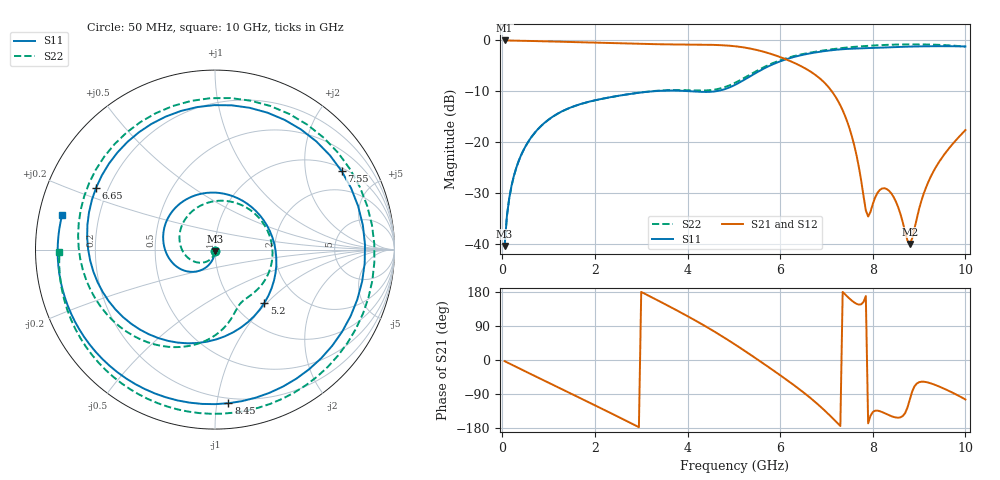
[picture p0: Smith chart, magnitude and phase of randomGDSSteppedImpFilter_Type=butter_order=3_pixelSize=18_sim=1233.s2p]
! freq	dB(S11)	phase(S11)	dB(S12)	phase(S12)
!  dB(S21)	phase(S21)	dB(S22)	phase(S22)
!S-par simulation data
#  GHz  S  DB  R 50
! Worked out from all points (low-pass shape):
!   200 points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, 50 MHz to 10 GHz, reference 50 ohm
!   highest |S21| = -0.01 dB at 50 MHz (marker M1); lowest = -39.9 dB at 8.8 GHz (marker M2)
!   |S21| within 3 dB of the highest: start of sweep to 5.92 GHz
!   lowest |S11| = -40.3 dB at 50 MHz (marker M3), VSWR 1.02, Z = 50 - j0.962 ohm
!   |S11| at or under -10 dB: start of sweep to 3.224 GHz; 4.111 GHz to 4.589 GHz (477.6 MHz wide, 11 % of centre)
!   |S22| runs from -40.4 to -0.8 dB; largest |S21 - S12| = 0
!   S11 on the Smith chart (normalised r, x): 50 MHz: 1.00, -0.02; 5.2 GHz: 1.37, -0.97; 6.65 GHz: 0.15, +0.24; 7.55 GHz: 1.11, +3.14; 8.45 GHz: 0.16, -1.08; 10 GHz: 0.07, +0.11
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0.05  -40.33 -90.6  -0.01 -3.1  -0.01 -3.1  -40.36 -92.6
0.2  -28.49 -98.4  -0.03 -12.1  -0.03 -12.1  -28.52 -105.3
0.5  -20.79 -111.9  -0.08 -30.2  -0.08 -30.2  -20.83 -129.3
1.15  -14.60 -138.3  -0.24 -69.0  -0.24 -69.0  -14.63 179.1
1.75  -12.32 -159.9  -0.39 -104.6  -0.39 -104.6  -12.34 129.3
2.65  -10.65 169.6  -0.60 -158.9  -0.60 -158.9  -10.65 51.6
3.4  -9.89 135.6  -0.75 154.6  -0.75 154.6  -9.84 -6.8
4.3  -10.09 65.8  -0.83 95.2  -0.83 95.2  -9.83 -55.3
5.05  -8.61 -27.7  -1.17 39.0  -1.17 39.0  -8.20 -75.8
5.2  -7.85 -47.1  -1.35 27.0  -1.35 27.0  -7.47 -81.0
5.9  -4.46 -127.9  -2.94 -31.5  -2.94 -31.5  -4.24 -119.1
6.3  -3.24 -169.8  -4.38 -66.6  -4.38 -66.6  -3.07 -149.1
6.65  -2.54 152.5  -6.08 -99.9  -6.08 -99.9  -2.39 179.2
6.7  -2.45 146.8  -6.37 -104.9  -6.37 -104.9  -2.31 174.1
7.15  -1.88 90.3  -10.42 -155.6  -10.42 -155.6  -1.69 120.4
7.55  -1.62 31.8  -18.85 156.5  -18.85 156.5  -1.29 61.1
7.9  -1.51 -19.3  -34.54 -167.2  -34.54 -167.2  -1.06 9.0
8.35  -1.35 -74.6  -29.48 -145.6  -29.48 -145.6  -0.85 -46.0
8.45  -1.32 -85.0  -30.72 -150.3  -30.72 -150.3  -0.82 -56.2
8.8  -1.21 -116.7  -39.91 -103.8  -39.91 -103.8  -0.77 -87.4
9.25  -1.14 -149.5  -26.77 -61.5  -26.77 -61.5  -0.82 -121.4
10  -1.18 167.1  -17.59 -104.1  -17.59 -104.1  -1.24 -179.1
